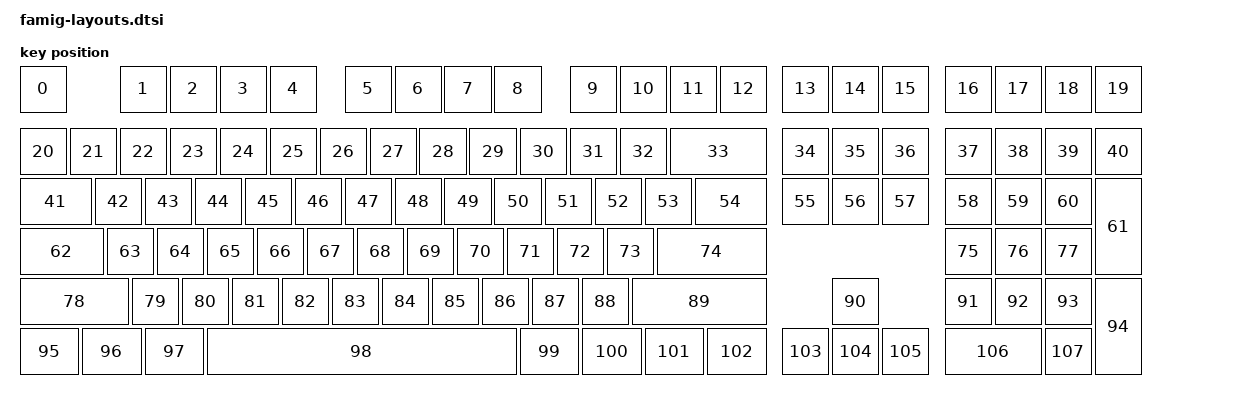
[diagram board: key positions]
#include <physical_layouts.dtsi>

/ {
    famig_layout1: famig_layout1 {
        compatible = "zmk,physical-layout";
        display-name = "famig";

        // Edit this to define the positions and sizes of the keys, or remove it
        // if your keyboard will not support ZMK Studio.
        // https://zmk.dev/docs/development/hardware-integration/physical-layouts#optional-keys-property
        keys  //                     w   h    x    y     rot    rx    ry
            = <&key_physical_attrs 100 100    0    0       0     0     0>
            , <&key_physical_attrs 100 100  200    0       0     0     0>
            , <&key_physical_attrs 100 100  300    0       0     0     0>
            , <&key_physical_attrs 100 100  400    0       0     0     0>
            , <&key_physical_attrs 100 100  500    0       0     0     0>
            , <&key_physical_attrs 100 100  650    0       0     0     0>
            , <&key_physical_attrs 100 100  750    0       0     0     0>
            , <&key_physical_attrs 100 100  850    0       0     0     0>
            , <&key_physical_attrs 100 100  950    0       0     0     0>
            , <&key_physical_attrs 100 100 1100    0       0     0     0>
            , <&key_physical_attrs 100 100 1200    0       0     0     0>
            , <&key_physical_attrs 100 100 1300    0       0     0     0>
            , <&key_physical_attrs 100 100 1400    0       0     0     0>
            , <&key_physical_attrs 100 100 1525    0       0     0     0>
            , <&key_physical_attrs 100 100 1625    0       0     0     0>
            , <&key_physical_attrs 100 100 1725    0       0     0     0>
            , <&key_physical_attrs 100 100 1850    0       0     0     0>
            , <&key_physical_attrs 100 100 1950    0       0     0     0>
            , <&key_physical_attrs 100 100 2050    0       0     0     0>
            , <&key_physical_attrs 100 100 2150    0       0     0     0>
            , <&key_physical_attrs 100 100    0  125       0     0     0>
            , <&key_physical_attrs 100 100  100  125       0     0     0>
            , <&key_physical_attrs 100 100  200  125       0     0     0>
            , <&key_physical_attrs 100 100  300  125       0     0     0>
            , <&key_physical_attrs 100 100  400  125       0     0     0>
            , <&key_physical_attrs 100 100  500  125       0     0     0>
            , <&key_physical_attrs 100 100  600  125       0     0     0>
            , <&key_physical_attrs 100 100  700  125       0     0     0>
            , <&key_physical_attrs 100 100  800  125       0     0     0>
            , <&key_physical_attrs 100 100  900  125       0     0     0>
            , <&key_physical_attrs 100 100 1000  125       0     0     0>
            , <&key_physical_attrs 100 100 1100  125       0     0     0>
            , <&key_physical_attrs 100 100 1200  125       0     0     0>
            , <&key_physical_attrs 200 100 1300  125       0     0     0>
            , <&key_physical_attrs 100 100 1525  125       0     0     0>
            , <&key_physical_attrs 100 100 1625  125       0     0     0>
            , <&key_physical_attrs 100 100 1725  125       0     0     0>
            , <&key_physical_attrs 100 100 1850  125       0     0     0>
            , <&key_physical_attrs 100 100 1950  125       0     0     0>
            , <&key_physical_attrs 100 100 2050  125       0     0     0>
            , <&key_physical_attrs 100 100 2150  125       0     0     0>
            , <&key_physical_attrs 150 100    0  225       0     0     0>
            , <&key_physical_attrs 100 100  150  225       0     0     0>
            , <&key_physical_attrs 100 100  250  225       0     0     0>
            , <&key_physical_attrs 100 100  350  225       0     0     0>
            , <&key_physical_attrs 100 100  450  225       0     0     0>
            , <&key_physical_attrs 100 100  550  225       0     0     0>
            , <&key_physical_attrs 100 100  650  225       0     0     0>
            , <&key_physical_attrs 100 100  750  225       0     0     0>
            , <&key_physical_attrs 100 100  850  225       0     0     0>
            , <&key_physical_attrs 100 100  950  225       0     0     0>
            , <&key_physical_attrs 100 100 1050  225       0     0     0>
            , <&key_physical_attrs 100 100 1150  225       0     0     0>
            , <&key_physical_attrs 100 100 1250  225       0     0     0>
            , <&key_physical_attrs 150 100 1350  225       0     0     0>
            , <&key_physical_attrs 100 100 1525  225       0     0     0>
            , <&key_physical_attrs 100 100 1625  225       0     0     0>
            , <&key_physical_attrs 100 100 1725  225       0     0     0>
            , <&key_physical_attrs 100 100 1850  225       0     0     0>
            , <&key_physical_attrs 100 100 1950  225       0     0     0>
            , <&key_physical_attrs 100 100 2050  225       0     0     0>
            , <&key_physical_attrs 100 200 2150  225       0     0     0>
            , <&key_physical_attrs 175 100    0  325       0     0     0>
            , <&key_physical_attrs 100 100  175  325       0     0     0>
            , <&key_physical_attrs 100 100  275  325       0     0     0>
            , <&key_physical_attrs 100 100  375  325       0     0     0>
            , <&key_physical_attrs 100 100  475  325       0     0     0>
            , <&key_physical_attrs 100 100  575  325       0     0     0>
            , <&key_physical_attrs 100 100  675  325       0     0     0>
            , <&key_physical_attrs 100 100  775  325       0     0     0>
            , <&key_physical_attrs 100 100  875  325       0     0     0>
            , <&key_physical_attrs 100 100  975  325       0     0     0>
            , <&key_physical_attrs 100 100 1075  325       0     0     0>
            , <&key_physical_attrs 100 100 1175  325       0     0     0>
            , <&key_physical_attrs 225 100 1275  325       0     0     0>
            , <&key_physical_attrs 100 100 1850  325       0     0     0>
            , <&key_physical_attrs 100 100 1950  325       0     0     0>
            , <&key_physical_attrs 100 100 2050  325       0     0     0>
            , <&key_physical_attrs 225 100    0  425       0     0     0>
            , <&key_physical_attrs 100 100  225  425       0     0     0>
            , <&key_physical_attrs 100 100  325  425       0     0     0>
            , <&key_physical_attrs 100 100  425  425       0     0     0>
            , <&key_physical_attrs 100 100  525  425       0     0     0>
            , <&key_physical_attrs 100 100  625  425       0     0     0>
            , <&key_physical_attrs 100 100  725  425       0     0     0>
            , <&key_physical_attrs 100 100  825  425       0     0     0>
            , <&key_physical_attrs 100 100  925  425       0     0     0>
            , <&key_physical_attrs 100 100 1025  425       0     0     0>
            , <&key_physical_attrs 100 100 1125  425       0     0     0>
            , <&key_physical_attrs 275 100 1225  425       0     0     0>
            , <&key_physical_attrs 100 100 1625  425       0     0     0>
            , <&key_physical_attrs 100 100 1850  425       0     0     0>
            , <&key_physical_attrs 100 100 1950  425       0     0     0>
            , <&key_physical_attrs 100 100 2050  425       0     0     0>
            , <&key_physical_attrs 100 200 2150  425       0     0     0>
            , <&key_physical_attrs 125 100    0  525       0     0     0>
            , <&key_physical_attrs 125 100  125  525       0     0     0>
            , <&key_physical_attrs 125 100  250  525       0     0     0>
            , <&key_physical_attrs 625 100  375  525       0     0     0>
            , <&key_physical_attrs 125 100 1000  525       0     0     0>
            , <&key_physical_attrs 125 100 1125  525       0     0     0>
            , <&key_physical_attrs 125 100 1250  525       0     0     0>
            , <&key_physical_attrs 125 100 1375  525       0     0     0>
            , <&key_physical_attrs 100 100 1525  525       0     0     0>
            , <&key_physical_attrs 100 100 1625  525       0     0     0>
            , <&key_physical_attrs 100 100 1725  525       0     0     0>
            , <&key_physical_attrs 200 100 1850  525       0     0     0>
            , <&key_physical_attrs 100 100 2050  525       0     0     0>
            ;
    };

    famig_position_map: famig_position_map {
        compatible = "zmk,physical-layout-position-map";
        complete;
        famig_layout_map1: famig_layout_map1 {
            physical-layout = <&famig_layout1>;
            positions  
                = <0  1  2  3  4  5  6  7  8  9  10 11 12 13 14 15 16 17 18 19 20 >
                , <16 17 18 19 20 21 22 23 24 25 26 27 28 29 30 31 32 33 34 35 36 37 38 39 40 41>
                , <42 43 44 45 46 47 48 49 50 51 52 53 54 55 56 57 58 59 60 61 62>
                , <63 64 65 66 67 68 69 70 71 72 73 74 75 76 77 78>
                , <79 80 81 82 83 84 85 86 87 88 89 90 91 92 93 94 95>
                , <96 97 98 99 100 101 102 103 104 105 106 107 108>
                ;
        };
    };
};
